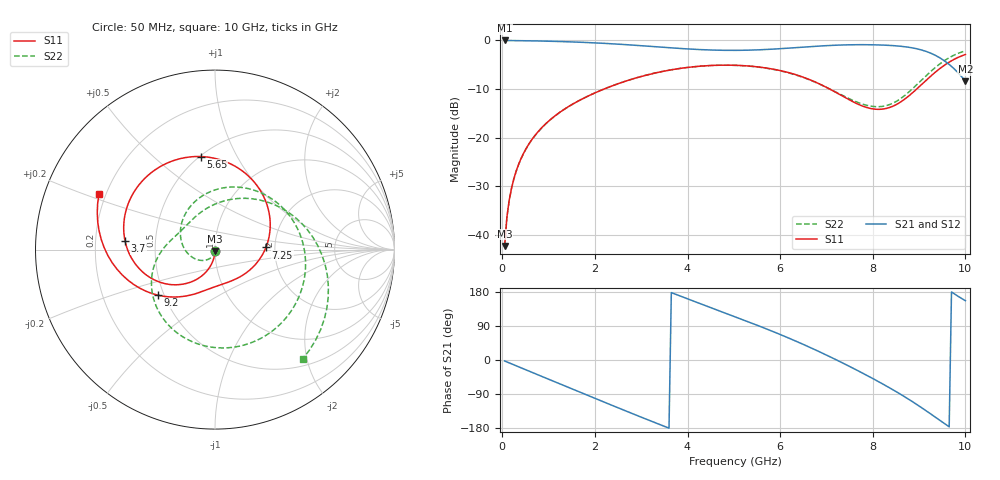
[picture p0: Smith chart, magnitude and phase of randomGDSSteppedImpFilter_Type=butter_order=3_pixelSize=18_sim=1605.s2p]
! freq	dB(S11)	phase(S11)	dB(S12)	phase(S12)
!  dB(S21)	phase(S21)	dB(S22)	phase(S22)
!S-par simulation data
#  GHz  S  DB  R 50
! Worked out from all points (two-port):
!   200 points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, 50 MHz to 10 GHz, reference 50 ohm
!   highest |S21| = 0.00 dB at 50 MHz (marker M1); lowest = -8.4 dB at 10 GHz (marker M2)
!   |S21| within 3 dB of the highest: start of sweep to 9.339 GHz
!   lowest |S11| = -42.3 dB at 50 MHz (marker M3), VSWR 1.02, Z = 50 - j0.769 ohm
!   |S11| at or under -10 dB: start of sweep to 2.197 GHz; 7.07 GHz to 8.948 GHz (1.878 GHz wide, 23.4 % of centre)
!   |S22| runs from -42.3 to -2.2 dB; largest |S21 - S12| = 0
!   S11 on the Smith chart (normalised r, x): 50 MHz: 1.00, -0.02; 3.7 GHz: 0.33, +0.04; 5.65 GHz: 0.50, +0.72; 7.25 GHz: 1.79, +0.05; 9.2 GHz: 0.46, -0.28; 10 GHz: 0.17, +0.22
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0.05  -42.28 -90.3  -0.00 -2.6  -0.00 -2.6  -42.31 -93.0
0.1  -36.31 -91.7  -0.01 -5.1  -0.01 -5.1  -36.36 -97.2
0.2  -30.36 -94.5  -0.02 -10.2  -0.02 -10.2  -30.41 -105.5
0.5  -22.48 -102.3  -0.06 -25.4  -0.06 -25.4  -22.53 -129.6
1.15  -15.42 -117.5  -0.20 -58.3  -0.20 -58.3  -15.45 179.4
1.75  -11.92 -131.3  -0.40 -88.6  -0.40 -88.6  -11.92 132.5
2.15  -10.18 -140.9  -0.57 -108.7  -0.57 -108.7  -10.17 101.9
2.6  -8.57 -152.4  -0.82 -131.1  -0.82 -131.1  -8.56 68.7
3.4  -6.50 -175.8  -1.36 -170.2  -1.36 -170.2  -6.48 14.3
3.7  -5.96 174.5  -1.56 175.5  -1.56 175.5  -5.95 -4.3
4.3  -5.27 153.8  -1.89 147.5  -1.89 147.5  -5.27 -38.9
5.05  -5.12 125.1  -2.04 113.0  -2.04 113.0  -5.13 -78.1
5.65  -5.60 98.8  -1.89 84.7  -1.89 84.7  -5.63 -107.5
6.2  -6.66 71.0  -1.57 57.1  -1.57 57.1  -6.72 -133.8
6.7  -8.31 41.4  -1.24 30.1  -1.24 30.1  -8.36 -157.1
7.25  -10.93 2.5  -0.96 -1.8  -0.96 -1.8  -10.85 178.6
7.8  -13.57 -43.4  -0.87 -35.9  -0.87 -35.9  -13.16 153.6
8.35  -13.83 -87.1  -1.01 -72.5  -1.01 -72.5  -13.23 115.1
8.75  -11.63 -112.1  -1.37 -101.7  -1.37 -101.7  -10.85 75.0
9.2  -7.79 -141.6  -2.42 -138.0  -2.42 -138.0  -6.82 27.6
9.65  -4.46 -177.0  -4.94 -176.4  -4.94 -176.4  -3.55 -18.0
10  -2.89 154.5  -8.38 156.6  -8.38 156.6  -2.15 -51.3
